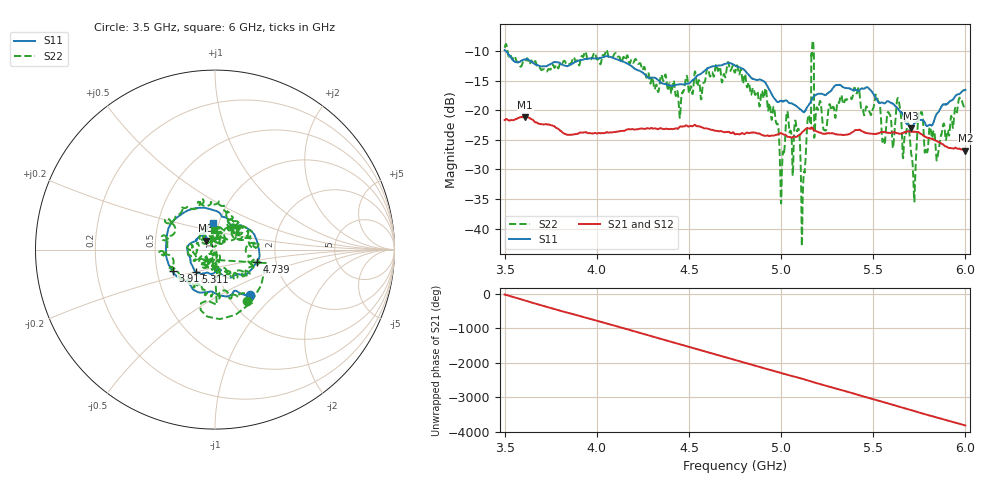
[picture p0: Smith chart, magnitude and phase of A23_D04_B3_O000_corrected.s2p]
! Created with skrf 1.9.0 (http://scikit-rf.org).
# Hz S RI R 50.0
!freq ReS11 ImS11 ReS21 ImS21 ReS12 ImS12 ReS22 ImS22
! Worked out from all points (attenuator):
!   1601 points, 3.5 GHz to 6 GHz, reference 50 ohm
!   highest |S21| = -21.12 dB at 3.611 GHz (marker M1); lowest = -26.8 dB at 6 GHz (marker M2)
!   lowest |S11| = -23.0 dB at 5.706 GHz (marker M3), VSWR 1.15, Z = 45.1 + j4.54 ohm
!   |S11| at or under -10 dB: 3.506 GHz to end of sweep
!   |S22| runs from -43.0 to -8.2 dB; largest |S21 - S12| = 0.00099
!   S11 on the Smith chart (normalised r, x): 3.5 GHz: 1.26, -0.72; 3.917 GHz: 0.60, -0.16; 4.739 GHz: 1.59, -0.24; 5.311 GHz: 0.79, -0.20; 6 GHz: 0.94, +0.28
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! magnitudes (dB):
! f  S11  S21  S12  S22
! 3.5 GHz  -9.8  -21.7  -21.6  -9.5
! 3.611 GHz  -11.4  -21.1  -21.1  -11.7
! 3.917 GHz  -11.5  -23.8  -23.8  -10.9
! 4.334 GHz  -15.0  -23.2  -23.1  -16.9
! 4.739 GHz  -12.2  -23.7  -23.7  -12.5
! 4.75 GHz  -12.5  -24.1  -24.0  -13.7
! 4.911 GHz  -15.2  -24.3  -24.3  -17.0
! 5.005 GHz  -18.4  -23.9  -23.9  -30.0
! 5.033 GHz  -18.4  -24.4  -24.4  -20.2
! 5.086 GHz  -19.4  -24.5  -24.4  -23.6
! 5.119 GHz  -20.2  -23.6  -23.5  -33.2
! 5.167 GHz  -18.2  -22.9  -22.9  -10.2
! 5.236 GHz  -17.4  -24.0  -23.9  -23.3
! 5.311 GHz  -15.7  -24.1  -24.1  -18.7
! 5.558 GHz  -18.8  -23.7  -23.6  -25.1
! 5.584 GHz  -18.5  -23.8  -23.8  -20.4
! 5.638 GHz  -19.9  -23.9  -23.9  -18.3
! 5.706 GHz  -23.0  -23.7  -23.6  -27.5
! 5.725 GHz  -22.2  -23.6  -23.6  -34.1
! 5.756 GHz  -21.6  -24.0  -23.9  -20.5
! 5.85 GHz  -20.4  -25.3  -25.2  -27.7
! 6 GHz  -16.6  -26.8  -26.7  -19.3
